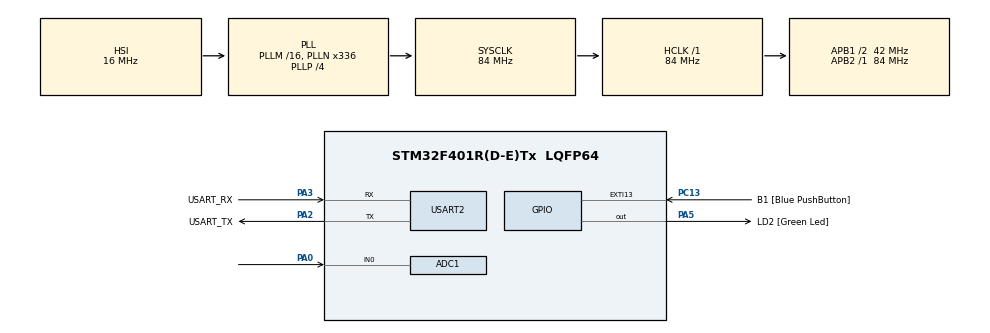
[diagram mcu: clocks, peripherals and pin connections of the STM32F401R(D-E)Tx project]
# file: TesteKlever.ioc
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ADC1.Channel-0\#ChannelRegularConversion=ADC_CHANNEL_0
ADC1.DMAContinuousRequests=ENABLE
ADC1.EOCSelection=ADC_EOC_SEQ_CONV
ADC1.NbrOfConversionFlag=1
ADC1.Rank-0\#ChannelRegularConversion=1
ADC1.SamplingTime-0\#ChannelRegularConversion=ADC_SAMPLETIME_3CYCLES
ADC1.ScanConvMode=ENABLE
ADC1.master=1
Dma.ADC1.0.Direction=DMA_PERIPH_TO_MEMORY
Dma.ADC1.0.FIFOMode=DMA_FIFOMODE_DISABLE
Dma.ADC1.0.Instance=DMA2_Stream0
Dma.ADC1.0.MemDataAlignment=DMA_MDATAALIGN_HALFWORD
Dma.ADC1.0.MemInc=DMA_MINC_ENABLE
Dma.ADC1.0.Mode=DMA_CIRCULAR
Dma.ADC1.0.PeriphDataAlignment=DMA_PDATAALIGN_HALFWORD
Dma.ADC1.0.PeriphInc=DMA_PINC_DISABLE
Dma.ADC1.0.Priority=DMA_PRIORITY_LOW
Dma.Request0=ADC1
FREERTOS.BinarySemaphores01=BinarySemaphoteUART,Dynamic,NULL;BinarySemaphoreADC,Dynamic,NULL;BinarySemaphoreDmaADC,Dynamic,NULL
FREERTOS.Queues01=AdcReadsQueue,16,uint16_t,0,Dynamic,NULL,NULL;LedQueue,16,uint8_t,0,Dynamic,NULL,NULL;UsartQueue,16,uint16_t,0,Dynamic,NULL,NULL
FREERTOS.Tasks01=defaultTask,0,128,StartDefaultTask,Default,NULL,Dynamic,NULL,NULL;usart_read_task,-3,128,StartUsartTask,Default,NULL,Dynamic,NULL,NULL;LED_Task,-3,128,StartLedTask,Default,NULL,Dynamic,NULL,NULL;ADC_Task,-3,128,StartAdcTask,Default,NULL,Dynamic,NULL,NULL
Mcu.Family=STM32F4
Mcu.Name=STM32F401R(D-E)Tx
Mcu.Package=LQFP64
NVIC.DMA2_Stream0_IRQn=true\:5\:0\:false\:false\:true\:true\:false\:true
NVIC.PriorityGroup=NVIC_PRIORITYGROUP_4
NVIC.TIM1_UP_TIM10_IRQn=true\:0\:0\:false\:false\:true\:false\:false\:true
NVIC.TimeBase=TIM1_UP_TIM10_IRQn
NVIC.TimeBaseIP=TIM1
NVIC.USART2_IRQn=true\:5\:0\:false\:false\:true\:true\:true\:true
PA0-WKUP.Signal=ADCx_IN0
PA13.GPIO_Label=TMS
PA13.Mode=Serial_Wire
PA13.Signal=SYS_JTMS-SWDIO
PA14.GPIO_Label=TCK
PA14.Mode=Serial_Wire
PA14.Signal=SYS_JTCK-SWCLK
PA2.GPIO_Label=USART_TX
PA2.GPIO_Mode=GPIO_MODE_AF_PP
PA2.GPIO_PuPd=GPIO_NOPULL
PA2.GPIO_Speed=GPIO_SPEED_FREQ_LOW
PA2.Mode=Asynchronous
PA2.Signal=USART2_TX
PA3.GPIO_Label=USART_RX
PA3.GPIO_Mode=GPIO_MODE_AF_PP
PA3.GPIO_PuPd=GPIO_NOPULL
PA3.GPIO_Speed=GPIO_SPEED_FREQ_LOW
PA3.Mode=Asynchronous
PA3.Signal=USART2_RX
PA5.GPIO_Label=LD2 [Green Led]
PA5.GPIO_Mode=GPIO_MODE_OUTPUT_PP
PA5.GPIO_PuPd=GPIO_NOPULL
PA5.GPIO_Speed=GPIO_SPEED_FREQ_LOW
PA5.Signal=GPIO_Output
PB3.GPIO_Label=SWO
PB3.Signal=SYS_JTDO-SWO
PC13-ANTI_TAMP.GPIO_Label=B1 [Blue PushButton]
PC13-ANTI_TAMP.GPIO_ModeDefaultEXTI=GPIO_MODE_IT_FALLING
PC13-ANTI_TAMP.GPIO_PuPd=GPIO_NOPULL
PC13-ANTI_TAMP.Signal=GPXTI13
PC14-OSC32_IN.Mode=LSE-External-Oscillator
PC14-OSC32_IN.Signal=RCC_OSC32_IN
PC15-OSC32_OUT.Mode=LSE-External-Oscillator
PC15-OSC32_OUT.Signal=RCC_OSC32_OUT
PH0\ -\ OSC_IN.Mode=HSE-External-Clock-Source
PH0\ -\ OSC_IN.Signal=RCC_OSC_IN
PH1\ -\ OSC_OUT.Mode=HSE-External-Clock-Source
PH1\ -\ OSC_OUT.Signal=RCC_OSC_OUT
ProjectManager.HeapSize=0x200
ProjectManager.StackSize=0x400
ProjectManager.TargetToolchain=STM32CubeIDE
RCC.48MHZClocksFreq_Value=48000000
RCC.AHBFreq_Value=84000000
RCC.APB1CLKDivider=RCC_HCLK_DIV2
RCC.APB1Freq_Value=42000000
RCC.APB1TimFreq_Value=84000000
RCC.APB2Freq_Value=84000000
RCC.APB2TimFreq_Value=84000000
RCC.CortexFreq_Value=84000000
RCC.HCLKFreq_Value=84000000
RCC.HSE_VALUE=8000000
RCC.HSI_VALUE=16000000
RCC.PLLN=336
RCC.PLLP=RCC_PLLP_DIV4
RCC.PLLQ=7
RCC.SYSCLKFreq_VALUE=84000000
RCC.SYSCLKSource=RCC_SYSCLKSOURCE_PLLCLK
RCC.VCOOutputFreq_Value=336000000
SH.ADCx_IN0.0=ADC1_IN0,IN0
USART2.VirtualMode=VM_ASYNC
VP_FREERTOS_VS_CMSIS_V1.Mode=CMSIS_V1
VP_SYS_VS_tim1.Mode=TIM1
board=NUCLEO-F401RE

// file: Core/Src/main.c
/* USER CODE BEGIN Header */
/**
  ******************************************************************************
  * @file           : main.c
  * @brief          : Main program body
  ******************************************************************************
  * @attention
  *
  * <h2><center>&copy; Copyright (c) 2021 STMicroelectronics.
  * All rights reserved.</center></h2>
  *
  * This software component is licensed by ST under BSD 3-Clause license,
  * the "License"; You may not use this file except in compliance with the
  * License. You may obtain a copy of the License at:
  *                        opensource.org/licenses/BSD-3-Clause
  *
  ******************************************************************************
  */
/* USER CODE END Header */

#include "main.h"
#include "cmsis_os.h"

/* USER CODE BEGIN PD */
#define ACK  0x06
#define NACK 0x17
#define requestSize 4
/* USER CODE END PD */

ADC_HandleTypeDef hadc1;
DMA_HandleTypeDef hdma_adc1;

UART_HandleTypeDef huart2;

osThreadId defaultTaskHandle;
osThreadId usart_read_taskHandle;
osThreadId LED_TaskHandle;
osThreadId ADC_TaskHandle;
osMessageQId AdcReadsQueueHandle;
osMessageQId LedQueueHandle;
osMessageQId UsartQueueHandle;
osSemaphoreId BinarySemaphoteUARTHandle;
osSemaphoreId BinarySemaphoreADCHandle;
osSemaphoreId BinarySemaphoreDmaADCHandle;
/* USER CODE BEGIN PV */

uint32_t ADC_read;

/* USER CODE END PV */

void SystemClock_Config(void);
static void MX_GPIO_Init(void);
static void MX_DMA_Init(void);
static void MX_USART2_UART_Init(void);
static void MX_ADC1_Init(void);
void StartDefaultTask(void const * argument);
void StartUsartTask(void const * argument);
void StartLedTask(void const * argument);
void StartAdcTask(void const * argument);

int main(void)
{

  /* MCU Configuration--------------------------------------------------------*/

  /* Reset of all peripherals, Initializes the Flash interface and the Systick. */
  HAL_Init();

  /* Configure the system clock */
  SystemClock_Config();

  /* Initialize all configured peripherals */
  MX_GPIO_Init();
  MX_DMA_Init();
  MX_USART2_UART_Init();
  MX_ADC1_Init();

  /* Create the semaphores(s) */
  /* definition and creation of BinarySemaphoteUART */
  osSemaphoreDef(BinarySemaphoteUART);
  BinarySemaphoteUARTHandle = osSemaphoreCreate(osSemaphore(BinarySemaphoteUART), 1);

  /* definition and creation of BinarySemaphoreADC */
  osSemaphoreDef(BinarySemaphoreADC);
  BinarySemaphoreADCHandle = osSemaphoreCreate(osSemaphore(BinarySemaphoreADC), 1);

  /* definition and creation of BinarySemaphoreDmaADC */
  osSemaphoreDef(BinarySemaphoreDmaADC);
  BinarySemaphoreDmaADCHandle = osSemaphoreCreate(osSemaphore(BinarySemaphoreDmaADC), 1);

  /* Create the queue(s) */
  /* definition and creation of AdcReadsQueue */
  osMessageQDef(AdcReadsQueue, 16, uint16_t);
  AdcReadsQueueHandle = osMessageCreate(osMessageQ(AdcReadsQueue), NULL);

  /* definition and creation of LedQueue */
  osMessageQDef(LedQueue, 16, uint8_t);
  LedQueueHandle = osMessageCreate(osMessageQ(LedQueue), NULL);

  /* definition and creation of UsartQueue */
  osMessageQDef(UsartQueue, 16, uint16_t);
  UsartQueueHandle = osMessageCreate(osMessageQ(UsartQueue), NULL);

  /* Create the thread(s) */
  /* definition and creation of defaultTask */
  osThreadDef(defaultTask, StartDefaultTask, osPriorityNormal, 0, 128);
  defaultTaskHandle = osThreadCreate(osThread(defaultTask), NULL);

  /* definition and creation of usart_read_task */
  osThreadDef(usart_read_task, StartUsartTask, osPriorityIdle, 0, 128);
  usart_read_taskHandle = osThreadCreate(osThread(usart_read_task), NULL);

  /* definition and creation of LED_Task */
  osThreadDef(LED_Task, StartLedTask, osPriorityIdle, 0, 128);
  LED_TaskHandle = osThreadCreate(osThread(LED_Task), NULL);

  /* definition and creation of ADC_Task */
  osThreadDef(ADC_Task, StartAdcTask, osPriorityIdle, 0, 128);
  ADC_TaskHandle = osThreadCreate(osThread(ADC_Task), NULL);

  /* Start scheduler */
  osKernelStart();

  /* We should never get here as control is now taken by the scheduler */

  /* Infinite loop */
  while (1)
  {

  }
}

void SystemClock_Config(void)
{
  RCC_OscInitTypeDef RCC_OscInitStruct = {0};
  RCC_ClkInitTypeDef RCC_ClkInitStruct = {0};

  /** Configure the main internal regulator output voltage
  */
  __HAL_RCC_PWR_CLK_ENABLE();
  __HAL_PWR_VOLTAGESCALING_CONFIG(PWR_REGULATOR_VOLTAGE_SCALE2);
  /** Initializes the CPU, AHB and APB busses clocks
  */
  RCC_OscInitStruct.OscillatorType = RCC_OSCILLATORTYPE_HSI;
  RCC_OscInitStruct.HSIState = RCC_HSI_ON;
  RCC_OscInitStruct.HSICalibrationValue = RCC_HSICALIBRATION_DEFAULT;
  RCC_OscInitStruct.PLL.PLLState = RCC_PLL_ON;
  RCC_OscInitStruct.PLL.PLLSource = RCC_PLLSOURCE_HSI;
  RCC_OscInitStruct.PLL.PLLM = 16;
  RCC_OscInitStruct.PLL.PLLN = 336;
  RCC_OscInitStruct.PLL.PLLP = RCC_PLLP_DIV4;
  RCC_OscInitStruct.PLL.PLLQ = 7;
  if (HAL_RCC_OscConfig(&RCC_OscInitStruct) != HAL_OK)
  {
    Error_Handler();
  }
  /** Initializes the CPU, AHB and APB busses clocks
  */
  RCC_ClkInitStruct.ClockType = RCC_CLOCKTYPE_HCLK|RCC_CLOCKTYPE_SYSCLK
                              |RCC_CLOCKTYPE_PCLK1|RCC_CLOCKTYPE_PCLK2;
  RCC_ClkInitStruct.SYSCLKSource = RCC_SYSCLKSOURCE_PLLCLK;
  RCC_ClkInitStruct.AHBCLKDivider = RCC_SYSCLK_DIV1;
  RCC_ClkInitStruct.APB1CLKDivider = RCC_HCLK_DIV2;
  RCC_ClkInitStruct.APB2CLKDivider = RCC_HCLK_DIV1;

  if (HAL_RCC_ClockConfig(&RCC_ClkInitStruct, FLASH_LATENCY_2) != HAL_OK)
  {
    Error_Handler();
  }
}

static void MX_ADC1_Init(void)
{

  ADC_ChannelConfTypeDef sConfig = {0};

  /** Configure the global features of the ADC (Clock, Resolution, Data Alignment and number of conversion)
  */
  hadc1.Instance = ADC1;
  hadc1.Init.ClockPrescaler = ADC_CLOCK_SYNC_PCLK_DIV4;
  hadc1.Init.Resolution = ADC_RESOLUTION_12B;
  hadc1.Init.ScanConvMode = ENABLE;
  hadc1.Init.ContinuousConvMode = DISABLE;
  hadc1.Init.DiscontinuousConvMode = DISABLE;
  hadc1.Init.ExternalTrigConvEdge = ADC_EXTERNALTRIGCONVEDGE_NONE;
  hadc1.Init.ExternalTrigConv = ADC_SOFTWARE_START;
  hadc1.Init.DataAlign = ADC_DATAALIGN_RIGHT;
  hadc1.Init.NbrOfConversion = 1;
  hadc1.Init.DMAContinuousRequests = ENABLE;
  hadc1.Init.EOCSelection = ADC_EOC_SEQ_CONV;
  if (HAL_ADC_Init(&hadc1) != HAL_OK)
  {
    Error_Handler();
  }
  /** Configure for the selected ADC regular channel its corresponding rank in the sequencer and its sample time.
  */
  sConfig.Channel = ADC_CHANNEL_0;
  sConfig.Rank = 1;
  sConfig.SamplingTime = ADC_SAMPLETIME_3CYCLES;
  if (HAL_ADC_ConfigChannel(&hadc1, &sConfig) != HAL_OK)
  {
    Error_Handler();
  }

}

static void MX_USART2_UART_Init(void)
{

  huart2.Instance = USART2;
  huart2.Init.BaudRate = 115200;
  huart2.Init.WordLength = UART_WORDLENGTH_8B;
  huart2.Init.StopBits = UART_STOPBITS_1;
  huart2.Init.Parity = UART_PARITY_NONE;
  huart2.Init.Mode = UART_MODE_TX_RX;
  huart2.Init.HwFlowCtl = UART_HWCONTROL_NONE;
  huart2.Init.OverSampling = UART_OVERSAMPLING_16;
  if (HAL_UART_Init(&huart2) != HAL_OK)
  {
    Error_Handler();
  }

}

static void MX_DMA_Init(void)
{

  /* DMA controller clock enable */
  __HAL_RCC_DMA2_CLK_ENABLE();

  /* DMA interrupt init */
  /* DMA2_Stream0_IRQn interrupt configuration */
  HAL_NVIC_SetPriority(DMA2_Stream0_IRQn, 5, 0);
  HAL_NVIC_EnableIRQ(DMA2_Stream0_IRQn);

}

static void MX_GPIO_Init(void)
{
  GPIO_InitTypeDef GPIO_InitStruct = {0};

  /* GPIO Ports Clock Enable */
  __HAL_RCC_GPIOC_CLK_ENABLE();
  __HAL_RCC_GPIOH_CLK_ENABLE();
  __HAL_RCC_GPIOA_CLK_ENABLE();
  __HAL_RCC_GPIOB_CLK_ENABLE();

  /*Configure GPIO pin Output Level */
  HAL_GPIO_WritePin(LD2_GPIO_Port, LD2_Pin, GPIO_PIN_RESET);

  /*Configure GPIO pin : B1_Pin */
  GPIO_InitStruct.Pin = B1_Pin;
  GPIO_InitStruct.Mode = GPIO_MODE_IT_FALLING;
  GPIO_InitStruct.Pull = GPIO_NOPULL;
  HAL_GPIO_Init(B1_GPIO_Port, &GPIO_InitStruct);

  /*Configure GPIO pin : LD2_Pin */
  GPIO_InitStruct.Pin = LD2_Pin;
  GPIO_InitStruct.Mode = GPIO_MODE_OUTPUT_PP;
  GPIO_InitStruct.Pull = GPIO_NOPULL;
  GPIO_InitStruct.Speed = GPIO_SPEED_FREQ_LOW;
  HAL_GPIO_Init(LD2_GPIO_Port, &GPIO_InitStruct);

}

/* USER CODE BEGIN 4 */

void HAL_UART_RxCpltCallback(UART_HandleTypeDef *huart){

	if(huart->Instance==USART2){
			osSemaphoreRelease(BinarySemaphoteUARTHandle);
	}

}
void HAL_ADC_ConvCpltCallback(ADC_HandleTypeDef* hadc)
{
	osSemaphoreRelease(BinarySemaphoreDmaADCHandle);

}
/* USER CODE END 4 */

void StartDefaultTask(void const * argument)
{
  /* USER CODE BEGIN 5 */
  /* Infinite loop */
  for(;;)
  {

     osDelay(1000);
  }
  /* USER CODE END 5 */
}

void StartUsartTask(void const * argument)
{
  /* USER CODE BEGIN StartUsartTask */
  /* Infinite loop */
  for(;;)
  {
	 uint8_t data[requestSize];

	 osSemaphoreWait(BinarySemaphoteUARTHandle, osWaitForever);
	 HAL_UART_Receive_IT(&huart2, data , requestSize);

	 if(data[0] != 0x01){

			 uint8_t response [5];
			 response[0] = 0x01;
		 	 response[1] = data[1];
			 response[2] = 0x01;
	 		 response[3] = NACK;
	 		 response[4] = response[0] + response[1] + response[2] + response[3] + response[4];
	 		 HAL_UART_Transmit_IT(&huart2, response, 5);

	 }else if(data[3] != data[0]+data[1]+data[2]){
		     uint8_t response [5];
		     response[0] = 0x01;
		 	 response[1] = data[1];
		 	 response[2] = 0x01;
		 	 response[3] = NACK;
		 	 response[4] = response[0] + response[1] + response[2] + response[3] + response[4];
		 	 HAL_UART_Transmit_IT(&huart2, response, 5);

	 }else{
		     uint8_t command;
		     uint8_t response[255];
		     uint8_t response_size;
		     uint16_t Adc_Queue_read;
		     uint8_t AdcMSB;
		     uint8_t AdcLSB;
		 	 switch (data[1]){
		 	 	 case 0x01:
		 	 		 //Turn on LED
		 	 		 command= 0x01;
		 	 		 xQueueSend(LedQueueHandle,&command,osWaitForever);
		 	 		 response[0] = 0x01;
		 	 		 response[1] = data[1];
		 	 		 response[2] = 0x01;
		 	 		 response[3] = ACK;
		 	 	     response[4] = response[0] + response[1] + response[2] + response[3];
		 	 	     response_size= 5;
		 	 		 break;
		 	 	 case 0x02:
		 	 		 //Turn off LED
		 	 		 command= 0x02;
		 	 		 xQueueSend(LedQueueHandle,&command,osWaitForever);
		 	  		 response[0] = 0x01;
		 	         response[1] = data[1];
		 	 		 response[2] = 0x01;
		 	 	     response[3] = ACK;
		 	 		 response[4] = response[0] + response[1] + response[2] + response[3];
		 	 		 response_size= 5;
		 	 	     break;
		 	 	case 0x03:
		 	 		 //Toggle LED
		 	 	     command= 0x03;
		 	 		 xQueueSend(LedQueueHandle,&command,osWaitForever);
		 	 	     response[0] = 0x01;
		 	 	     response[1] = data[1];
		 	 		 response[2] = 0x01;
		 	 		 response[3] = ACK;
		 	 		 response[4] = response[0] + response[1] + response[2] + response[3];
		 	 		 response_size= 5;
		 	 	     break;
		 	 	case 0x04:
		 	 		 for(int i = 0; i < requestSize; i++ ){
		 	 			 	response[i] = data[i];
		 	 		 }
		 	 		 response_size = 4;
		 	 		 break;
		 	 	case 0x05:
		 	 		osSemaphoreRelease(BinarySemaphoreADCHandle);
		 	 		xQueueReceive(AdcReadsQueueHandle, &Adc_Queue_read, osWaitForever);
		 	 		AdcMSB = Adc_Queue_read >> 8;
		 	 		AdcLSB = Adc_Queue_read & 0xFF;

		 	 		response[0] = 0x01;
		 	 		response[1] = data[1];
		 	 		response[2] = 0x02;
		 	 		response[3] = AdcMSB;
		 	 		response[4] = AdcLSB;
		 	 		response[5] = response[0] + response[1] + response[2] + response[3] + response[4];
		 	 		response_size = 6;

		 	 }
		     HAL_UART_Transmit_IT(&huart2, response, response_size);

	 }

	 osDelay(1);

  }
  /* USER CODE END StartUsartTask */
}

void StartLedTask(void const * argument)
{
  /* USER CODE BEGIN StartLedTask */
  /* Infinite loop */
  for(;;)
  {
	uint8_t command;
	xQueueReceive(LedQueueHandle, &command, osWaitForever);
	switch(command){
	   case 0x01:
		   HAL_GPIO_WritePin(LD2_GPIO_Port, LD2_Pin, 1);
		   break;
	   case 0x02:
		   HAL_GPIO_WritePin(LD2_GPIO_Port, LD2_Pin, 0);
		   break;
	   case 0x03:
	   	   HAL_GPIO_TogglePin(LD2_GPIO_Port, LD2_Pin);
	   	   break;

	}
    osDelay(1);
  }
  /* USER CODE END StartLedTask */
}

void StartAdcTask(void const * argument)
{
  /* USER CODE BEGIN StartAdcTask */
  /* Infinite loop */

  for(;;)
  {
    osSemaphoreWait(BinarySemaphoreADCHandle, osWaitForever);

	HAL_ADC_Start_DMA(&hadc1, &ADC_read, 1);
	osSemaphoreWait(BinarySemaphoreDmaADCHandle, osWaitForever);
	xQueueSend(AdcReadsQueueHandle,&ADC_read,osWaitForever);

    osDelay(10);
  }
  /* USER CODE END StartAdcTask */
}

void HAL_TIM_PeriodElapsedCallback(TIM_HandleTypeDef *htim)
{
  if (htim->Instance == TIM1) {
    HAL_IncTick();
  }
}

void Error_Handler(void)
{
}

/************************ (C) COPYRIGHT STMicroelectronics *****END OF FILE****/
